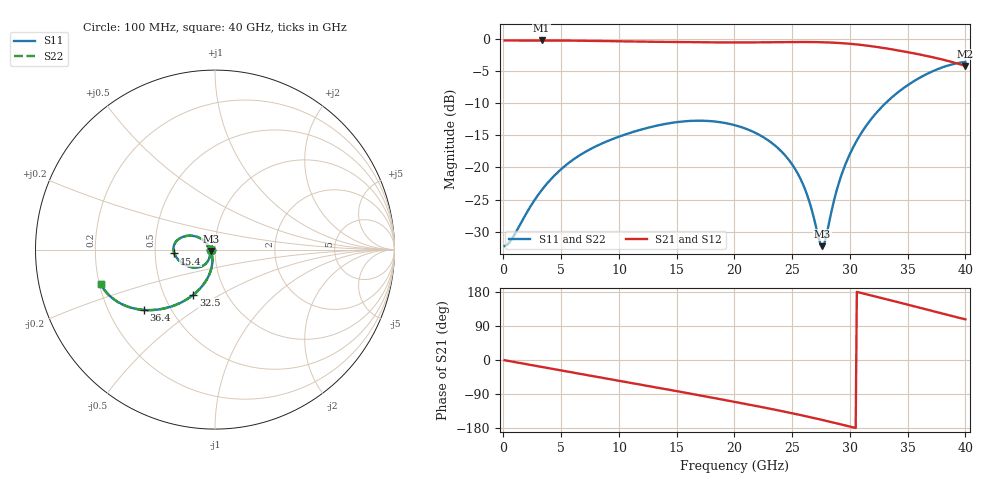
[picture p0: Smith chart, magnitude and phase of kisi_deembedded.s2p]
! C_s8_nfp: kisi-fdtd, de-embedded with the 2×thru
# Hz S RI R 50
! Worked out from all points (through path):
!   400 points, 100 MHz to 40 GHz, reference 50 ohm
!   highest |S21| = -0.20 dB at 3.3 GHz (marker M1); lowest = -4.2 dB at 40 GHz (marker M2)
!   group delay of S21, straight-line fit = 17.2 ps
!   lowest |S11| = -32.3 dB at 27.6 GHz (marker M3), VSWR 1.05, Z = 47.7 - j0.726 ohm
!   |S11| at or under -10 dB: start of sweep to 33.08 GHz
!   |S22| runs from -32.3 to -3.5 dB; largest |S21 - S12| = 3.2e-07
!   S11 on the Smith chart (normalised r, x): 100 MHz: 0.95, -0.00; 15.4 GHz: 0.63, -0.03; 32.5 GHz: 0.70, -0.38; 36.4 GHz: 0.35, -0.33; 40 GHz: 0.21, -0.14
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1e8  -0.0244 -0.0017  0.9761 -0.0093  0.9761 -0.0093  -0.0244 -0.0017
3.3e9  -0.0356 -0.056  0.9288 -0.3037  0.9288 -0.3037  -0.0356 -0.056
6.8e9  -0.0832 -0.0968  0.7719 -0.5914  0.7719 -0.5914  -0.0832 -0.0968
1.01e10  -0.1481 -0.0933  0.5461 -0.792  0.5461 -0.792  -0.1481 -0.0933
1.34e10  -0.2056 -0.0551  0.2737 -0.9133  0.2737 -0.9133  -0.2056 -0.0551
1.54e10  -0.2266 -0.0217  0.0932 -0.9447  0.0932 -0.9447  -0.2266 -0.0217
2.01e10  -0.205 0.0565  -0.3376 -0.8804  -0.3376 -0.8804  -0.205 0.0565
2.24e10  -0.1567 0.0766  -0.5346 -0.7792  -0.5346 -0.7792  -0.1567 0.0766
2.43e10  -0.104 0.0724  -0.6836 -0.6579  -0.6836 -0.6579  -0.104 0.0724
2.57e10  -0.0642 0.0513  -0.7798 -0.5435  -0.7798 -0.5435  -0.0642 0.0513
2.67e10  -0.0395 0.0248  -0.8374 -0.4479  -0.8374 -0.4479  -0.0395 0.0248
2.73e10  -0.0278 0.00406  -0.8659 -0.3853  -0.8659 -0.3853  -0.0278 0.00406
2.76e10  -0.0231 -0.0076  -0.8782 -0.3526  -0.8782 -0.3526  -0.0231 -0.00761
2.79e10  -0.0194 -0.0201  -0.8891 -0.3191  -0.8891 -0.3191  -0.0194 -0.0201
2.89e10  -0.0148 -0.0669  -0.9136 -0.2027  -0.9136 -0.2027  -0.0148 -0.0669
2.97e10  -0.0213 -0.1085  -0.9192 -0.1061  -0.9192 -0.1061  -0.0213 -0.1085
3.09e10  -0.0498 -0.1731  -0.9027 0.0387  -0.9027 0.0387  -0.0498 -0.1731
3.25e10  -0.1212 -0.252  -0.8368 0.2187  -0.8368 0.2187  -0.1212 -0.252
3.34e10  -0.1753 -0.2877  -0.7812 0.3082  -0.7812 0.3082  -0.1753 -0.2877
3.64e10  -0.3976 -0.3362  -0.5313 0.5268  -0.5313 0.5268  -0.3976 -0.3362
3.82e10  -0.5352 -0.2953  -0.3541 0.589  -0.3541 0.589  -0.5352 -0.2953
4e10  -0.6363 -0.1942  -0.1838 0.5904  -0.1838 0.5904  -0.6363 -0.1942
